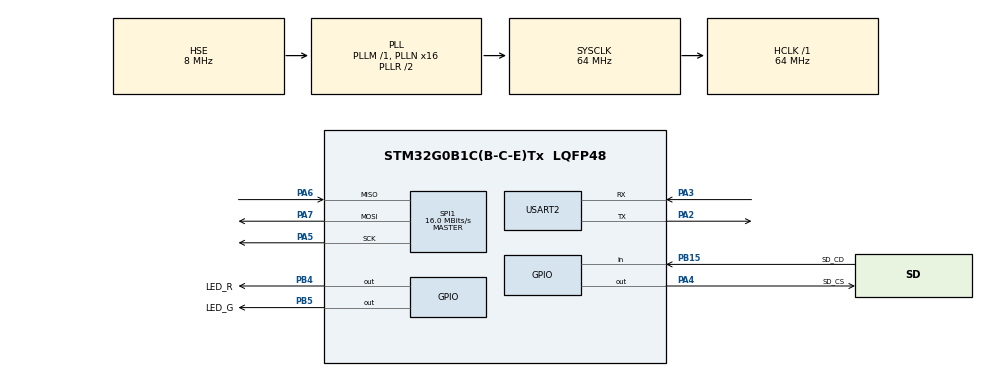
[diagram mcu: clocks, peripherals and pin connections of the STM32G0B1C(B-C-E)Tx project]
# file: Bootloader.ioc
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FATFS._MAX_SS=4096
FATFS._VOLUMES=2
Mcu.Family=STM32G0
Mcu.Name=STM32G0B1C(B-C-E)Tx
Mcu.Package=LQFP48
NVIC.SPI1_IRQn=true\:0\:0\:false\:false\:true\:true\:true\:true
NVIC.TIM3_TIM4_IRQn=true\:0\:0\:false\:false\:true\:true\:true\:true
PA13.Mode=Serial_Wire
PA13.Signal=SYS_SWDIO
PA14-BOOT0.Mode=Serial_Wire
PA14-BOOT0.Signal=SYS_SWCLK
PA2.Mode=Asynchronous
PA2.Signal=USART2_TX
PA3.Mode=Asynchronous
PA3.Signal=USART2_RX
PA4.GPIO_Label=SD_CS
PA4.Signal=GPIO_Output
PA5.Mode=Full_Duplex_Master
PA5.Signal=SPI1_SCK
PA6.Mode=Full_Duplex_Master
PA6.Signal=SPI1_MISO
PA7.Mode=Full_Duplex_Master
PA7.Signal=SPI1_MOSI
PB15.GPIO_Label=SD_CD
PB15.GPIO_PuPd=GPIO_PULLUP
PB15.Signal=GPIO_Input
PB4.GPIO_Label=LED_R
PB4.Signal=GPIO_Output
PB5.GPIO_Label=LED_G
PB5.Signal=GPIO_Output
PF0-OSC_IN\ (PF0).Mode=HSE-External-Oscillator
PF0-OSC_IN\ (PF0).Signal=RCC_OSC_IN
PF1-OSC_OUT\ (PF1).Mode=HSE-External-Oscillator
PF1-OSC_OUT\ (PF1).Signal=RCC_OSC_OUT
ProjectManager.HeapSize=0x1000
ProjectManager.StackSize=0x2000
ProjectManager.TargetToolchain=STM32CubeIDE
RCC.ADCFreq_Value=64000000
RCC.AHBFreq_Value=64000000
RCC.CortexFreq_Value=64000000
RCC.EXTERNAL_CLOCK_VALUE=48000
RCC.EnbaleCSS=true
RCC.HCLKFreq_Value=64000000
RCC.HSE_VALUE=8000000
RCC.HSI48_VALUE=48000000
RCC.HSI_VALUE=16000000
RCC.LSE_VALUE=32768
RCC.PLLN=16
RCC.PLLSourceVirtual=RCC_PLLSOURCE_HSE
RCC.SYSCLKFreq_VALUE=64000000
RCC.SYSCLKSource=RCC_SYSCLKSOURCE_PLLCLK
RCC.USBFreq_Value=48000000
RCC.VCOOutputFreq_Value=128000000
SPI1.BaudRatePrescaler=SPI_BAUDRATEPRESCALER_4
SPI1.CLKPhase=SPI_PHASE_2EDGE
SPI1.CLKPolarity=SPI_POLARITY_HIGH
SPI1.CRCCalculation=SPI_CRCCALCULATION_DISABLE
SPI1.CalculateBaudRate=16.0 MBits/s
SPI1.Direction=SPI_DIRECTION_2LINES
SPI1.Mode=SPI_MODE_MASTER
SPI1.TIMode=SPI_TIMODE_DISABLE
SPI1.VirtualType=VM_MASTER
TIM3.Period=1999
TIM3.Prescaler=6399
USART2.VirtualMode-Asynchronous=VM_ASYNC
VP_FATFS_VS_Generic.Mode=User_defined
VP_SYS_VS_DBSignals.Mode=DisableDeadBatterySignals
VP_TIM3_VS_ClockSourceINT.Mode=Internal
board=custom

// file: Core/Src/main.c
/* USER CODE BEGIN Header */
/**
  ******************************************************************************
  * @file           : main.c
  * @brief          : Main program body
  ******************************************************************************
  * @attention
  *
  * Copyright (c) 2024 STMicroelectronics.
  * All rights reserved.
  *
  * This software is licensed under terms that can be found in the LICENSE file
  * in the root directory of this software component.
  * If no LICENSE file comes with this software, it is provided AS-IS.
  *
  ******************************************************************************
  */
/* USER CODE END Header */
#include "main.h"
#include "app_fatfs.h"
#include "spi.h"
#include "tim.h"
#include "usart.h"
#include "gpio.h"

/* USER CODE BEGIN Includes */
#include "../../app/SPI_SD_driver/SPI_SD_driver.h"
#include "../../app/Bsp/Bsp.h"
//#include "SPIFLashUpdater.h"
#include "InternalFlashUpdater.h"
#include "UpdateCfgParser.h"
/* USER CODE END Includes */

/* USER CODE BEGIN PTD */
/* 定义类型 */
typedef void (*pFunction)(void);

#define ApplicationFlashAddress 0x0800F000  //定义应用程序地址

#define BUF_MAX_LEN 1024
#define CFGENTRY_MAX_NUM 20
#define CFG_FILE_NAME "updateAT.cfg"
/* USER CODE END PTD */

void SystemClock_Config(void);

/* USER CODE BEGIN 0 */

static void ProgramDead(void)
{
	TIM_SetTime(200);
	TIM_Start();
	while(1);
}

static u32 GetUpdateFlie(char *buf,u32 max_len)
{
	//FATFS fs;
	FRESULT res;
	FIL file;
	u32 len=0;
//	res = f_mount(0, &fs);
	res = f_open(&file, CFG_FILE_NAME, FA_OPEN_EXISTING | FA_READ);//CFG_FILE_NAME--updateAT.cfg。FA_OPEN_EXISTING | FA_READ以只读方式打�????????
	if(res == FR_OK) {
		f_read(&file,buf,max_len,&len);
		f_close(&file);
	}
	return len;
}

void jump_to_app(uint32_t APP_FLASH_ADDR)
{
	uint32_t JumpAddress;
	pFunction Jump_To_Application;

	/* 检查栈顶地址是否合法 */
	if(((*(__IO uint32_t *)APP_FLASH_ADDR) & 0x2FFDB000) == 0x20000000)
	{
		printf("jump\n");

		/* 去初始化 */
		HAL_SuspendTick();
		HAL_RCC_DeInit();
		HAL_DeInit();

		/* 屏蔽所有中断，防止在跳转过程中，中断干扰出现异常 */
		__disable_irq();

		/* 用户代码区第二个 字 为程序开始地址(复位地址) */
		JumpAddress = *(__IO uint32_t *) (APP_FLASH_ADDR + 4);

		/* Initialize user application's Stack Pointer */
		/* 初始化APP堆栈指针(用户代码区的第一个字用于存放栈顶地址) */
		__set_MSP(*(__IO uint32_t *) APP_FLASH_ADDR);

		/* 类型转换 */
		Jump_To_Application = (pFunction) JumpAddress;

		/* 跳转到 APP */
		Jump_To_Application();
	}
}

#ifdef __GNUC__
#define PUTCHAR_PROTOTYPE int __io_putchar(int ch)
#else
#define PUTCHAR_PROTOTYPE int fputc(int ch, FILE *f)
#endif /* __GNUC__ */

#ifdef __cplusplus
extern "C" {
#endif
PUTCHAR_PROTOTYPE
{
    HAL_UART_Transmit(&huart2 , (uint8_t *)&ch, 1, HAL_MAX_DELAY);
    return ch;
}
#ifdef __cplusplus
}
#endif

/* USER CODE END 0 */

int main(void)
{
  /* USER CODE BEGIN 1 */
//	StartApplication(ApplicationFlashAddress);
  /* USER CODE END 1 */

  /* MCU Configuration--------------------------------------------------------*/

  /* Reset of all peripherals, Initializes the Flash interface and the Systick. */
  HAL_Init();

  /* Configure the system clock */
  SystemClock_Config();

  /* Initialize all configured peripherals */
  MX_GPIO_Init();
  MX_SPI1_Init();
  MX_TIM3_Init();
  MX_USART2_UART_Init();
  if (MX_FATFS_Init() != APP_OK) {
    Error_Handler();
  }
  /* USER CODE BEGIN 2 */
  LED_G_WritePin(GPIO_PIN_SET);

//  SD_Init();
  printf("hello\n");

  if(SPI_SD_GetSDCard())
  {
	  LED_G_WritePin(GPIO_PIN_RESET);
	  HAL_Delay(1000);
	  TIM_SetTime(50);
	  TIM_Start();

	  char buf[BUF_MAX_LEN];

	  FATFS fs;
	  u32 res;
	  res = f_mount(&fs,"0:",1);									//挂载
	  printf("fmount ok\n");
	  u32 buf_len = GetUpdateFlie(buf,BUF_MAX_LEN);			//获取文件升级描述
	  printf("buf_len:%d\n",buf_len);
	  if (buf_len){
		  	struct UpdateCfgEntry pupdateCfg[CFGENTRY_MAX_NUM];
			int update_num=0;
			update_num = UpdateCfgParser(buf,buf_len,pupdateCfg);//获取待升级文件数�????????
			printf("update_num:%d\n",update_num);
			if(update_num) {
				for(int i=0;i<update_num;i++) {
					int ret;
					if(pupdateCfg[i].type == INTERNAL)
						ret = InternalFlashUpdate(&pupdateCfg[i]);
//					else if(pupdateCfg[i].type == SPI)//SD卡升�????????
//					{
//						ret = SPIFlashUpdate(&pupdateCfg[i]);
//						StartApplication(ApplicationFlashAddress);
//					}
					else ret = -1;
					if(ret) ProgramDead();
				}
			} else {
				ProgramDead();
			}
	  }
	  TIM_Stop();
	  LED_G_WritePin(GPIO_PIN_SET);
  }

  SPI_SD_Release();
  printf("jump_to_app...\n");
  jump_to_app(ApplicationFlashAddress);
  ProgramDead();
  /* USER CODE END 2 */

  /* Infinite loop */
  while (1)
  {

  }
}

void SystemClock_Config(void)
{
  RCC_OscInitTypeDef RCC_OscInitStruct = {0};
  RCC_ClkInitTypeDef RCC_ClkInitStruct = {0};

  /** Configure the main internal regulator output voltage
  */
  HAL_PWREx_ControlVoltageScaling(PWR_REGULATOR_VOLTAGE_SCALE1);

  /** Initializes the RCC Oscillators according to the specified parameters
  * in the RCC_OscInitTypeDef structure.
  */
  RCC_OscInitStruct.OscillatorType = RCC_OSCILLATORTYPE_HSE;
  RCC_OscInitStruct.HSEState = RCC_HSE_ON;
  RCC_OscInitStruct.PLL.PLLState = RCC_PLL_ON;
  RCC_OscInitStruct.PLL.PLLSource = RCC_PLLSOURCE_HSE;
  RCC_OscInitStruct.PLL.PLLM = RCC_PLLM_DIV1;
  RCC_OscInitStruct.PLL.PLLN = 16;
  RCC_OscInitStruct.PLL.PLLP = RCC_PLLP_DIV2;
  RCC_OscInitStruct.PLL.PLLQ = RCC_PLLQ_DIV2;
  RCC_OscInitStruct.PLL.PLLR = RCC_PLLR_DIV2;
  if (HAL_RCC_OscConfig(&RCC_OscInitStruct) != HAL_OK)
  {
    Error_Handler();
  }

  /** Initializes the CPU, AHB and APB buses clocks
  */
  RCC_ClkInitStruct.ClockType = RCC_CLOCKTYPE_HCLK|RCC_CLOCKTYPE_SYSCLK
                              |RCC_CLOCKTYPE_PCLK1;
  RCC_ClkInitStruct.SYSCLKSource = RCC_SYSCLKSOURCE_PLLCLK;
  RCC_ClkInitStruct.AHBCLKDivider = RCC_SYSCLK_DIV1;
  RCC_ClkInitStruct.APB1CLKDivider = RCC_HCLK_DIV1;

  if (HAL_RCC_ClockConfig(&RCC_ClkInitStruct, FLASH_LATENCY_2) != HAL_OK)
  {
    Error_Handler();
  }

  /** Enables the Clock Security System
  */
  HAL_RCC_EnableCSS();
}

void Error_Handler(void)
{
  __disable_irq();
  while (1)
  {
  }
}
